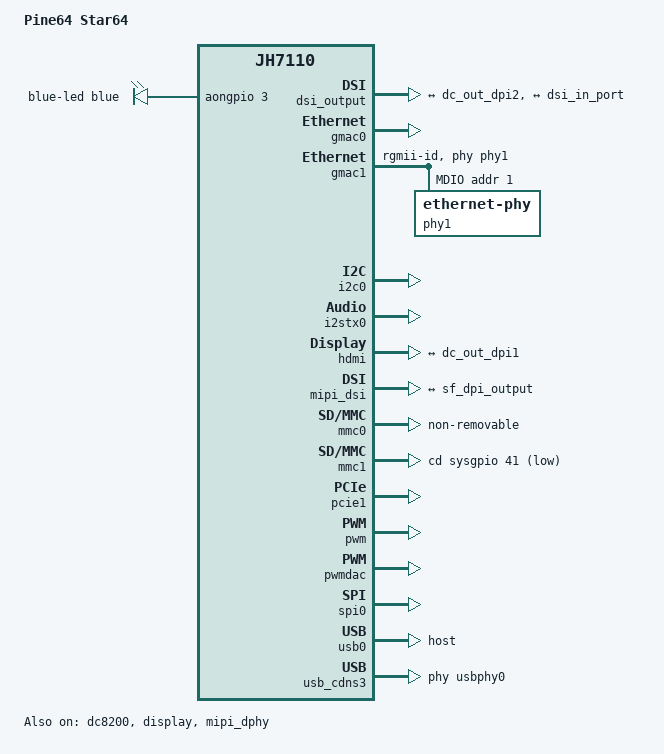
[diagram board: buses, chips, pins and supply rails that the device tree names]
// SPDX-License-Identifier: GPL-2.0 OR MIT
/*
 * Copyright (C) 2024 Henry Bell <dmoo_dv@protonmail.com>
 */

/dts-v1/;
#include "jh7110-common.dtsi"
#include <dt-bindings/leds/common.h>

/ {
	model = "Pine64 Star64";
	compatible = "pine64,star64", "starfive,jh7110";
	aliases {
		ethernet1 = &gmac1;
	};

	leds {
		compatible = "gpio-leds";

		led-blue {
			color = <LED_COLOR_ID_BLUE>;
			function = LED_FUNCTION_HEARTBEAT;
			gpios = <&aongpio 3 GPIO_ACTIVE_HIGH>;
			label = "blue-led";
			linux,default-trigger = "heartbeat";
		};
	};

	reserved-memory {
		#address-cells = <2>;
		#size-cells = <2>;
		ranges;

		linux,cma {
			compatible = "shared-dma-pool";
			reusable;
			size = <0x0 0x08000000>; /* 128 MiB */
			alignment = <0x0 0x1000>;
			alloc-ranges = <0x0 0x70000000 0x0 0x20000000>;
			linux,cma-default;
		};
	};

	sound1: snd-card1 {
		compatible = "simple-audio-card";
		#address-cells = <1>;
		#size-cells = <0>;

		simple-audio-card,name = "Starfive-HDMI-Sound-Card";
		simple-audio-card,dai-link@0 {
			reg = <0>;
			format = "i2s";
			bitclock-master = <&sndi2s0>;
			frame-master = <&sndi2s0>;
			mclk-fs = <256>;
			status = "okay";

			sndi2s0: cpu {
				sound-dai = <&i2stx0>;
			};

			codec {
				sound-dai = <&hdmi>;
			};
		};
	};
};

&dc8200 {
	status = "okay";

	dc_out: port {
		#address-cells = <1>;
		#size-cells = <0>;
		dc_out_dpi0: endpoint@0 {
			reg = <0>;
			remote-endpoint = <&hdmi_input0>;
		};
		dc_out_dpi1: endpoint@1 {
			reg = <1>;
			remote-endpoint = <&hdmi_in_lcdc>;
		};

		dc_out_dpi2: endpoint@2 {
			reg = <2>;
			remote-endpoint = <&mipi_in>;
		};
	};
};

&display {
	ports = <&dc_out_dpi0>;
	status = "okay";
};

&dsi_output {
	status = "okay";

	ports {
		#address-cells = <1>;
		#size-cells = <0>;

		port@0 {
			reg = <0>;
			mipi_in: endpoint {
				remote-endpoint = <&dc_out_dpi2>;
			};
		};

		port@1 {
			reg = <1>;
			sf_dpi_output: endpoint {
				remote-endpoint = <&dsi_in_port>;
			};
		};
	};
};

&gmac0 {
	starfive,tx-use-rgmii-clk;
	assigned-clocks = <&aoncrg JH7110_AONCLK_GMAC0_TX>;
	assigned-clock-parents = <&aoncrg JH7110_AONCLK_GMAC0_RMII_RTX>;
	status = "okay";
};

&gmac1 {
	phy-handle = <&phy1>;
	phy-mode = "rgmii-id";
	starfive,tx-use-rgmii-clk;
	assigned-clocks = <&syscrg JH7110_SYSCLK_GMAC1_TX>;
	assigned-clock-parents = <&syscrg JH7110_SYSCLK_GMAC1_RMII_RTX>;
	status = "okay";

	mdio {
		#address-cells = <1>;
		#size-cells = <0>;
		compatible = "snps,dwmac-mdio";

		phy1: ethernet-phy@1 {
			reg = <1>;
		};
	};
};

&i2c0 {
	status = "okay";
};

&i2stx0 {
	pinctrl-names = "default";
	pinctrl-0 = <&mclk_ext_pins>;
	status = "okay";
};

&hdmi {
	status = "okay";
	pinctrl-names = "default";
	pinctrl-0 = <&hdmi_pins>;
	hpd-gpio = <&sysgpio 15 GPIO_ACTIVE_HIGH>;
	hdmi_0p9-supply = <&hdmi_0p9>;
	hdmi_1p8-supply = <&hdmi_1p8>;

	hdmi_in: port {
		#address-cells = <1>;
		#size-cells = <0>;
		hdmi_in_lcdc: endpoint@0 {
			reg = <0>;
			remote-endpoint = <&dc_out_dpi1>;
		};
	};
};

&mipi_dphy {
	status = "okay";
};

&mipi_dsi {
	status = "okay";

	ports {
		#address-cells = <1>;
		#size-cells = <0>;

		port@0 {
			reg = <0>;
			#address-cells = <1>;
			#size-cells = <0>;
		};

		port@1{
			reg = <1>;
			dsi_in_port: endpoint {
				remote-endpoint = <&sf_dpi_output>;
			};
		};
	};
};

&mmc0 {
	non-removable;
};

&mmc1 {
	cd-gpios = <&sysgpio 41 GPIO_ACTIVE_LOW>;
	disable-wp;
};

&pcie1 {
	status = "okay";
};

&phy0 {
	rx-internal-delay-ps = <1500>;
	motorcomm,rx-clk-drv-microamp = <2910>;
	motorcomm,rx-data-drv-microamp = <2910>;
	motorcomm,tx-clk-adj-enabled;
	motorcomm,tx-clk-10-inverted;
	motorcomm,tx-clk-100-inverted;
	motorcomm,tx-clk-1000-inverted;
};

&phy1 {
	rx-internal-delay-ps = <0>;
	tx-internal-delay-ps = <300>;
	motorcomm,rx-clk-drv-microamp = <2910>;
	motorcomm,rx-data-drv-microamp = <2910>;
	motorcomm,tx-clk-adj-enabled;
	motorcomm,tx-clk-10-inverted;
	motorcomm,tx-clk-100-inverted;
};

&pwm {
	status = "okay";
};

&pwmdac {
	status = "okay";
};

&rgb_output {
	status = "disabled";

	ports {
		#address-cells = <1>;
		#size-cells = <0>;
		port@0 {
			#address-cells = <1>;
			#size-cells = <0>;
			reg = <0>;
			hdmi_input0:endpoint@0 {
				reg = <0>;
				remote-endpoint = <&dc_out_dpi0>;
			};
		};
	};
};

&spi0 {
	status = "okay";
};

&sysgpio {
	hdmi_pins: hdmi-0 {
		scl-pins {
			pinmux = <GPIOMUX(0, GPOUT_SYS_HDMI_DDC_SCL,
					     GPOEN_SYS_HDMI_DDC_SCL,
					     GPI_SYS_HDMI_DDC_SCL)>;
			bias-pull-up;
			input-enable;
		};

		sda-pins {
			pinmux = <GPIOMUX(1, GPOUT_SYS_HDMI_DDC_SDA,
					     GPOEN_SYS_HDMI_DDC_SDA,
					     GPI_SYS_HDMI_DDC_SDA)>;
			bias-pull-up;
			input-enable;
		};

		cec-pins {
			pinmux = <GPIOMUX(14, GPOUT_SYS_HDMI_CEC_SDA,
					      GPOEN_SYS_HDMI_CEC_SDA,
					      GPI_SYS_HDMI_CEC_SDA)>;
			bias-pull-up;
			input-enable;
		};

		hpd-pins {
			pinmux = <GPIOMUX(15, GPOUT_LOW,
					      GPOEN_DISABLE,
					      GPI_SYS_HDMI_HPD)>;
			bias-disable; /* external pull-up */
			input-enable;
		};
	};

	mclk_ext_pins: mclk-ext-0 {
		mclk-ext-pins {
			pinmux = <GPIOMUX(4, GPOUT_LOW,
					     GPOEN_DISABLE,
					     GPI_SYS_MCLK_EXT)>;
			input-enable;
		};
	};

	usb0_pins: usb0-0 {
		vbus-pins {
			pinmux = <GPIOMUX(25,  GPOUT_SYS_USB_DRIVE_VBUS,
					       GPOEN_ENABLE,
					       GPI_NONE)>;
			bias-disable;
			input-disable;
			input-schmitt-disable;
			slew-rate = <0>;
		};
	};
};

&usb0 {
	dr_mode = "host";
	pinctrl-names = "default";
	pinctrl-0 = <&usb0_pins>;
	status = "okay";
};

&usb_cdns3 {
	phys = <&usbphy0>, <&pciephy0>;
	phy-names = "cdns3,usb2-phy", "cdns3,usb3-phy";
};
